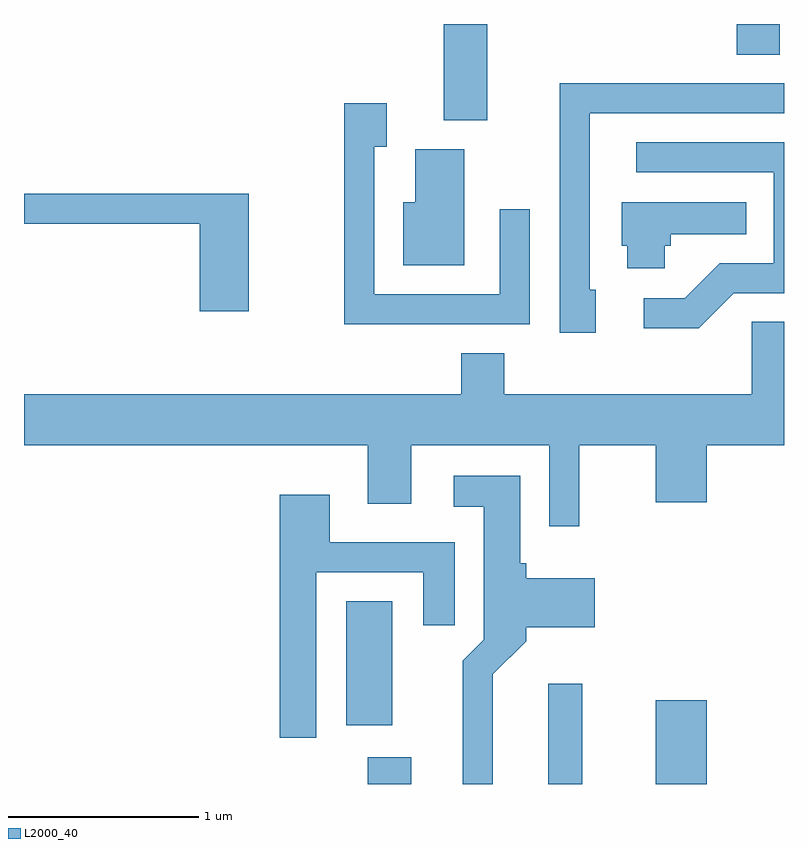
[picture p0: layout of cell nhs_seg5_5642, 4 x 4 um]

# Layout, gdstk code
import gdstk
lib = gdstk.Library(unit=1e-6, precision=1e-09)
def R(c, l, rs):  # rectangles x0, y0, x1, y1
    for r in rs: c.add(gdstk.rectangle(r[:2], r[2:], *l))
def P(c, l, *ps):  # polygons
    for p in ps: c.add(gdstk.Polygon(p, *l))
L2000_40 = (2000, 40)

nhs_seg5_5642 = lib.new_cell('nhs_seg5_5642')
R(nhs_seg5_5642, L2000_40, [(353.421,1506.072,353.649,1506.214), (354.371,1506.072,354.549,1506.599), (354.936,1506.072,355.204,1506.514), (353.306,1506.381,353.549,1507.034), (353.821,1509.566,354.049,1510.072), (355.361,1509.911,355.589,1510.072)])
P(nhs_seg5_5642, L2000_40, [(354.619,1508.674),(354.589,1508.674),(354.589,1509.601),(355.611,1509.601),(355.611,1509.759),(354.431,1509.759),(354.431,1508.446),(354.619,1508.446)],
  [(354.274,1509.098),(354.116,1509.098),(354.116,1508.649),(353.454,1508.649),(353.454,1509.426),(353.519,1509.426),(353.519,1509.654),(353.296,1509.654),(353.296,1508.491),(354.274,1508.491)],
  [(355.347,1508.656),(355.611,1508.656),(355.611,1509.449),(354.833,1509.449),(354.833,1509.291),(355.556,1509.291),(355.556,1508.814),(355.274,1508.814),(355.089,1508.629),(354.873,1508.629),(354.873,1508.471),(355.162,1508.471)],
  [(353.929,1509.414),(353.671,1509.414),(353.671,1509.134),(353.606,1509.134),(353.606,1508.801),(353.929,1508.801)],
  [(352.794,1509.179),(351.611,1509.179),(351.611,1509.021),(352.536,1509.021),(352.536,1508.561),(352.794,1508.561)],
  [(354.984,1508.906),(355.014,1508.906),(355.014,1508.966),(355.413,1508.966),(355.413,1509.134),(354.756,1509.134),(354.756,1508.906),(354.786,1508.906),(354.786,1508.786),(354.984,1508.786)],
  [(354.534,1507.856),(354.936,1507.856),(354.936,1507.556),(355.204,1507.556),(355.204,1507.856),(355.611,1507.856),(355.611,1508.504),(355.441,1508.504),(355.441,1508.124),(354.139,1508.124),(354.139,1508.339),(353.911,1508.339),(353.911,1508.124),(351.611,1508.124),(351.611,1507.856),(353.421,1507.856),(353.421,1507.546),(353.649,1507.546),(353.649,1507.856),(354.376,1507.856),(354.376,1507.428),(354.534,1507.428)],
  [(354.079,1506.649),(354.254,1506.824),(354.254,1506.896),(354.614,1506.896),(354.614,1507.154),(354.254,1507.154),(354.254,1507.234),(354.224,1507.234),(354.224,1507.694),(353.873,1507.694),(353.873,1507.531),(354.031,1507.531),(354.031,1506.832),(353.921,1506.722),(353.921,1506.072),(354.079,1506.072)],
  [(353.149,1507.186),(353.711,1507.186),(353.711,1506.908),(353.879,1506.908),(353.879,1507.344),(353.219,1507.344),(353.219,1507.594),(352.956,1507.594),(352.956,1506.316),(353.149,1506.316)])

lib.write_gds('nhs_seg5_5642.gds')
